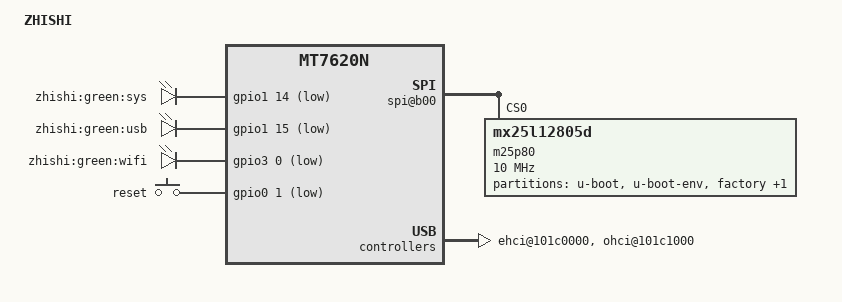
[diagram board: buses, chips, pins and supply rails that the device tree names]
/dts-v1/;

/include/ "mt7620n.dtsi"

/ {
	compatible = "zhishi", "ralink,mt7620n-soc";
	model = "ZHISHI";

	palmbus@10000000 {
		gpio1: gpio@638 {
			status = "okay";
		};
		
		gpio3: gpio@688 {
			status = "okay";
		};

		spi@b00 {
			status = "okay";

			m25p80@0 {
				#address-cells = <1>;
				#size-cells = <1>;
				compatible = "mx25l12805d";
				reg = <0 0>;
				#linux,modalias = "m25p80", "w25q128";
				linux,modalias = "m25p80", "en25q64";
				spi-max-frequency = <10000000>;

				partition@0 {
					label = "u-boot";
					reg = <0x0 0x30000>;
					read-only;
				};

				partition@30000 {
					label = "u-boot-env";
					reg = <0x30000 0x10000>;
					read-only;
				};

				factory: partition@40000 {
					label = "factory";
					reg = <0x40000 0x10000>;
					read-only;
				};

				partition@50000 {
					label = "firmware";
					reg = <0x50000 0xfb0000>;
				};
			};
		};
	};

	ehci@101c0000 {
		status = "okay";
	};

	ohci@101c1000 {
		status = "okay";
	};

	ethernet@10100000 {
		mtd-mac-address = <&factory 0x4>;
		ralink,port-map = "llllw";
	};

	wmac@10180000 {
		ralink,mtd-eeprom = <&factory 0>;
	};

	pinctrl {
		state_default: pinctrl0 {
			ephy {
				ralink,group = "ephy";
				ralink,function = "ephy";
			};
			default {
				ralink,group = "i2c", "pa", "uartf", "spi refclk", "wled";
				ralink,function = "gpio";
			};
		};
	};

	gpio-leds {
		compatible = "gpio-leds";
		sys {
                        label = "zhishi:green:sys";
                        gpios = <&gpio1 14 1>;
                };

                usb {
                        label = "zhishi:green:usb";
                        gpios = <&gpio1 15 1>;
                };

                wifi {
                        label = "zhishi:green:wifi";
                        gpios = <&gpio3 0 1>;
                };		
	};

	gpio-keys-polled {
		compatible = "gpio-keys-polled";
		#address-cells = <1>;
		#size-cells = <0>;
		poll-interval = <20>;
		reset {
			label = "reset";
			gpios = <&gpio0 1 1>;
			linux,code = <0x198>;
		};
	};
};

